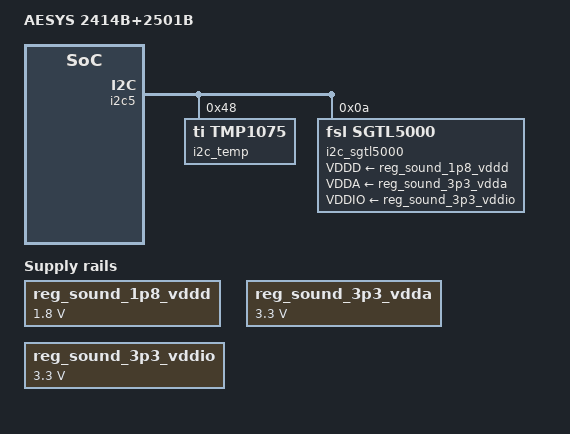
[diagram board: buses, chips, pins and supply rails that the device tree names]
// SPDX-License-Identifier: (GPL-2.0+ OR MIT)

/dts-v1/;

#include "aesys_2414_2g.dtsi"

/ {
	model = "AESYS 2414B+2501B";

    reg_sound_1p8_vddd: regulator-sound-1p8-vddd {
        compatible = "regulator-fixed";
        regulator-always-on;
        regulator-min-microvolt = <1800000>;
        regulator-max-microvolt = <1800000>;
        regulator-name = "SOUND_1P8_VDDD";
	};

    reg_sound_3p3_vdda: regulator-sound-3p3-vdda {
        compatible = "regulator-fixed";
        regulator-always-on;
        regulator-min-microvolt = <3300000>;
        regulator-max-microvolt = <3300000>;
        regulator-name = "SOUND_3P3_VDDA";
	};

    reg_sound_3p3_vddio: regulator-sound-3p3-vddio {
        compatible = "regulator-fixed";
        regulator-always-on;
        regulator-min-microvolt = <3300000>;
        regulator-max-microvolt = <3300000>;
        regulator-name = "SOUND_3P3_VDDIO";
	};

    sound-sgtl5000 {
        #address-cells = <1>;
	    #size-cells = <0>;

		compatible = "simple-audio-card";
		simple-audio-card,name = "SGTL5000-Card";
		simple-audio-card,format = "i2s";
		simple-audio-card,bitclock-master = <&cpu_dai>;
		simple-audio-card,frame-master = <&cpu_dai>;
		simple-audio-card,widgets = "Headphone", "Headphone Jack",
                                    "Lineout", "Lineout Jack";
		simple-audio-card,routing = "Headphone Jack", "HP_OUT",
                                    "Lineout Jack", "LINE_OUT";
        status = "okay";

		cpu_dai: simple-audio-card,cpu {
			sound-dai = <&sai1>;
		};

		codec_dai: simple-audio-card,codec {
			sound-dai = <&i2c_sgtl5000>;
            clocks = <&sai1 1>;
		};
	};
};

&ethphy0 {
    max-speed = <100>;
};

&ethphy1 {
    max-speed = <100>;
};

&i2c5 {
	i2c_temp: temp@48 {
		compatible = "ti,tmp1075";
		reg = <0x48>;
	};

    i2c_sgtl5000: sgtl5000 {
        #sound-dai-cells = <0>;
		compatible = "fsl,sgtl5000";
		reg = <0x0a>;
		clocks = <&sai1 1>;
        VDDD-supply = <&reg_sound_1p8_vddd>;
        VDDA-supply = <&reg_sound_3p3_vdda>;
        VDDIO-supply = <&reg_sound_3p3_vddio>;
	};
};

&iomuxc {
	pinctrl-names = "default";
	pinctrl-0 = <&pinctrl_emmc_gpios &pinctrl_pin_hwrev_gpios &pinctrl_pin_gpios &pinctrl_pin_gpios_2501>;

	pinctrl_pin_gpios_2501: pin_gpios_2501 {
		fsl,pins = <
        MX8MP_IOMUXC_GPIO1_IO05__GPIO1_IO05      0x00000006   	// TEMP_SENS_nINT
		MX8MP_IOMUXC_SAI3_RXC__GPIO4_IO29        0x00000006		// GNSS_nRESET
		>;
	};
};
